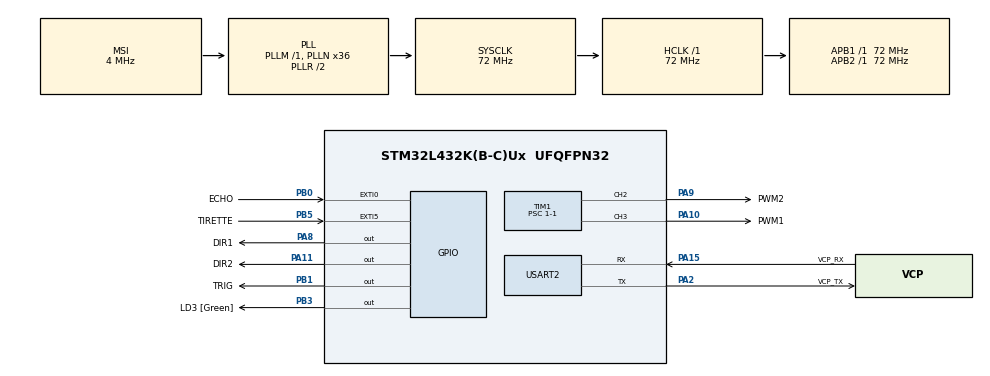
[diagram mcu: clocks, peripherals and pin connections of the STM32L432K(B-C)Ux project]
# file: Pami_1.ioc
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Mcu.Family=STM32L4
Mcu.Name=STM32L432K(B-C)Ux
Mcu.Package=UFQFPN32
NVIC.PriorityGroup=NVIC_PRIORITYGROUP_4
NVIC.TIM1_BRK_TIM15_IRQn=true\:0\:0\:false\:false\:true\:true\:true\:true
NVIC.TIM1_CC_IRQn=true\:0\:0\:false\:false\:true\:true\:true\:true
NVIC.TIM1_TRG_COM_IRQn=true\:0\:0\:false\:false\:true\:true\:true\:true
NVIC.TIM1_UP_TIM16_IRQn=true\:0\:0\:false\:false\:true\:true\:true\:true
NVIC.TIM7_IRQn=true\:0\:0\:false\:false\:true\:true\:true\:true
PA0.GPIO_Label=MCO [High speed clock in]
PA0.Mode=HSE-External-Clock-Source-for-LittleOrca
PA0.Signal=RCC_CK_IN
PA10.GPIO_Label=PWM1
PA10.Signal=S_TIM1_CH3
PA11.GPIO_Label=DIR2
PA11.Signal=GPIO_Output
PA13\ (JTMS-SWDIO).GPIO_Label=SWDIO
PA13\ (JTMS-SWDIO).Mode=Serial_Wire
PA13\ (JTMS-SWDIO).Signal=SYS_JTMS-SWDIO
PA14\ (JTCK-SWCLK).GPIO_Label=SWCLK
PA14\ (JTCK-SWCLK).Mode=Serial_Wire
PA14\ (JTCK-SWCLK).Signal=SYS_JTCK-SWCLK
PA15\ (JTDI).GPIO_Label=VCP_RX
PA15\ (JTDI).Mode=Asynchronous
PA15\ (JTDI).Signal=USART2_RX
PA2.GPIO_Label=VCP_TX
PA2.Mode=Asynchronous
PA2.Signal=USART2_TX
PA8.GPIO_Label=DIR1
PA8.Signal=GPIO_Output
PA9.GPIO_Label=PWM2
PA9.Signal=S_TIM1_CH2
PB0.GPIO_Label=ECHO
PB0.Signal=GPXTI0
PB1.GPIO_Label=TRIG
PB1.Signal=GPIO_Output
PB3\ (JTDO-TRACESWO).GPIO_Label=LD3 [Green]
PB3\ (JTDO-TRACESWO).Signal=GPIO_Output
PB5.GPIO_Label=TIRETTE
PB5.GPIO_PuPd=GPIO_PULLDOWN
PB5.Signal=GPXTI5
PC14-OSC32_IN\ (PC14).Mode=LSE-External-Oscillator
PC14-OSC32_IN\ (PC14).Signal=RCC_OSC32_IN
PC15-OSC32_OUT\ (PC15).Mode=LSE-External-Oscillator
PC15-OSC32_OUT\ (PC15).Signal=RCC_OSC32_OUT
ProjectManager.HeapSize=0x200
ProjectManager.StackSize=0x400
ProjectManager.TargetToolchain=STM32CubeIDE
RCC.AHBFreq_Value=72000000
RCC.APB1Freq_Value=72000000
RCC.APB1TimFreq_Value=72000000
RCC.APB2Freq_Value=72000000
RCC.APB2TimFreq_Value=72000000
RCC.CortexFreq_Value=72000000
RCC.HCLKFreq_Value=72000000
RCC.HSE_VALUE=8000000
RCC.HSI16_VALUE=16000000
RCC.HSI48_VALUE=48000000
RCC.HSI_VALUE=16000000
RCC.MSI_VALUE=4000000
RCC.PLLMUL=RCC_PLLMUL_4
RCC.PLLN=36
RCC.SYSCLKFreq_VALUE=72000000
RCC.SYSCLKSource=RCC_SYSCLKSOURCE_PLLCLK
RCC.VCOOutputFreq_Value=144000000
SH.S_TIM1_CH2.0=TIM1_CH2,PWM Generation2 CH2
SH.S_TIM1_CH3.0=TIM1_CH3,PWM Generation3 CH3
TIM1.Channel-PWM\ Generation2\ CH2=TIM_CHANNEL_2
TIM1.Channel-PWM\ Generation3\ CH3=TIM_CHANNEL_3
TIM1.Period=60000
TIM1.Prescaler=1-1
TIM2.Period=65535
TIM2.Prescaler=72-1
TIM7.AutoReloadPreload=TIM_AUTORELOAD_PRELOAD_ENABLE
TIM7.Period=65220-1
TIM7.Prescaler=1221-1
USART2.VirtualMode-Asynchronous=VM_ASYNC
VP_TIM2_VS_ClockSourceINT.Mode=Internal
VP_TIM7_VS_ClockSourceINT.Mode=Enable_Timer
board=NUCLEO-L432KC

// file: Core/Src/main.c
/* USER CODE BEGIN Header */
/**
  ******************************************************************************
  * @file           : main.c
  * @brief          : Main program body
  ******************************************************************************
  * @attention
  *
  * Copyright (c) 2024 STMicroelectronics.
  * All rights reserved.
  *
  * This software is licensed under terms that can be found in the LICENSE file
  * in the root directory of this software component.
  * If no LICENSE file comes with this software, it is provided AS-IS.
  *
  ******************************************************************************
  */
/* USER CODE END Header */
#include "main.h"

/* USER CODE BEGIN Includes */
#include <stdbool.h>
/* USER CODE END Includes */

/* USER CODE BEGIN PD */
uint32_t pMillis;
uint32_t Value1 = 0;
uint32_t Value2 = 0;
uint16_t Distance = 0;
int vmax = 60000;
/* USER CODE END PD */

TIM_HandleTypeDef htim1;
TIM_HandleTypeDef htim2;
TIM_HandleTypeDef htim7;

UART_HandleTypeDef huart2;

/* USER CODE BEGIN PV */
int cpt = 0;
bool color;//true = jaune; false = bleu

/* USER CODE END PV */

void SystemClock_Config(void);
static void MX_GPIO_Init(void);
static void MX_USART2_UART_Init(void);
static void MX_TIM1_Init(void);
static void MX_TIM7_Init(void);
static void MX_TIM2_Init(void);

/* USER CODE BEGIN 0 */
void turn90()//IL FAUT IMPLEMANTER LE SENS DES ROUES EN VARIABLE D'ABORD
{

}
/* USER CODE END 0 */

int main(void)
{

  /* MCU Configuration--------------------------------------------------------*/

  /* Reset of all peripherals, Initializes the Flash interface and the Systick. */
  HAL_Init();

  /* Configure the system clock */
  SystemClock_Config();

  /* Initialize all configured peripherals */
  MX_GPIO_Init();
  MX_USART2_UART_Init();
  MX_TIM1_Init();
  MX_TIM7_Init();
  MX_TIM2_Init();
  /* USER CODE BEGIN 2 */
  HAL_TIM_PWM_Start(&htim1, TIM_CHANNEL_2);
  HAL_TIM_PWM_Start(&htim1, TIM_CHANNEL_3);
  HAL_TIM_Base_Start_IT(&htim2);

  //while(HAL_GPIO_ReadPin(TIRETTE_GPIO_Port, TIRETTE_Pin));
  //HAL_TIM_Base_Start_IT(&htim7);
  //while(cpt < 91);

  __HAL_TIM_SET_COMPARE(&htim1,TIM_CHANNEL_2, 0);
  __HAL_TIM_SET_COMPARE(&htim1,TIM_CHANNEL_3, 0);

  HAL_GPIO_WritePin(DIR2_GPIO_Port, DIR2_Pin, 0);// ATTENTION PIN11 est sur enable
  HAL_GPIO_WritePin(DIR1_GPIO_Port, DIR1_Pin, 1);// ATTENTION PIN11 est sur enable

  /* USER CODE END 2 */

  /* Infinite loop */
  /* USER CODE BEGIN WHILE */
  while (1)
  {
	  HAL_GPIO_WritePin(TRIG_GPIO_Port, TRIG_Pin, 1);
	  __HAL_TIM_SET_COUNTER(&htim2, 0);
	  while(__HAL_TIM_GET_COUNTER(&htim2) < 10);
	  HAL_GPIO_WritePin(TRIG_GPIO_Port, TRIG_Pin, 0);

	  pMillis = HAL_GetTick();
	  while(!(HAL_GPIO_ReadPin(ECHO_GPIO_Port, ECHO_Pin)) && pMillis +10 > HAL_GetTick());
	  Value1 = __HAL_TIM_GET_COUNTER(&htim2);

	  pMillis = HAL_GetTick();
	  while((HAL_GPIO_ReadPin(ECHO_GPIO_Port, ECHO_Pin)) && pMillis +50 > HAL_GetTick());
	  Value2 = __HAL_TIM_GET_COUNTER(&htim2);
	  Distance = (Value2 - Value1)*0.034/2;

	  if(Distance < 5){
		  HAL_GPIO_WritePin(LD3_GPIO_Port, LD3_Pin, 1);
		  __HAL_TIM_SET_COMPARE(&htim1,TIM_CHANNEL_2, 0);
		  __HAL_TIM_SET_COMPARE(&htim1,TIM_CHANNEL_3, 0);
	  }
	  else
	  {
		  HAL_GPIO_WritePin(LD3_GPIO_Port, LD3_Pin, 0);
		  __HAL_TIM_SET_COMPARE(&htim1,TIM_CHANNEL_2, vmax-1000);
		  __HAL_TIM_SET_COMPARE(&htim1,TIM_CHANNEL_3, vmax-1000);
	  }

	  HAL_Delay(50);

    /* USER CODE END WHILE */

  }
}

void SystemClock_Config(void)
{
  RCC_OscInitTypeDef RCC_OscInitStruct = {0};
  RCC_ClkInitTypeDef RCC_ClkInitStruct = {0};

  /** Configure the main internal regulator output voltage
  */
  if (HAL_PWREx_ControlVoltageScaling(PWR_REGULATOR_VOLTAGE_SCALE1) != HAL_OK)
  {
    Error_Handler();
  }

  /** Configure LSE Drive Capability
  */
  HAL_PWR_EnableBkUpAccess();
  __HAL_RCC_LSEDRIVE_CONFIG(RCC_LSEDRIVE_LOW);

  /** Initializes the RCC Oscillators according to the specified parameters
  * in the RCC_OscInitTypeDef structure.
  */
  RCC_OscInitStruct.OscillatorType = RCC_OSCILLATORTYPE_LSE|RCC_OSCILLATORTYPE_MSI;
  RCC_OscInitStruct.LSEState = RCC_LSE_ON;
  RCC_OscInitStruct.MSIState = RCC_MSI_ON;
  RCC_OscInitStruct.MSICalibrationValue = 0;
  RCC_OscInitStruct.MSIClockRange = RCC_MSIRANGE_6;
  RCC_OscInitStruct.PLL.PLLState = RCC_PLL_ON;
  RCC_OscInitStruct.PLL.PLLSource = RCC_PLLSOURCE_MSI;
  RCC_OscInitStruct.PLL.PLLM = 1;
  RCC_OscInitStruct.PLL.PLLN = 36;
  RCC_OscInitStruct.PLL.PLLP = RCC_PLLP_DIV7;
  RCC_OscInitStruct.PLL.PLLQ = RCC_PLLQ_DIV2;
  RCC_OscInitStruct.PLL.PLLR = RCC_PLLR_DIV2;
  if (HAL_RCC_OscConfig(&RCC_OscInitStruct) != HAL_OK)
  {
    Error_Handler();
  }

  /** Initializes the CPU, AHB and APB buses clocks
  */
  RCC_ClkInitStruct.ClockType = RCC_CLOCKTYPE_HCLK|RCC_CLOCKTYPE_SYSCLK
                              |RCC_CLOCKTYPE_PCLK1|RCC_CLOCKTYPE_PCLK2;
  RCC_ClkInitStruct.SYSCLKSource = RCC_SYSCLKSOURCE_PLLCLK;
  RCC_ClkInitStruct.AHBCLKDivider = RCC_SYSCLK_DIV1;
  RCC_ClkInitStruct.APB1CLKDivider = RCC_HCLK_DIV1;
  RCC_ClkInitStruct.APB2CLKDivider = RCC_HCLK_DIV1;

  if (HAL_RCC_ClockConfig(&RCC_ClkInitStruct, FLASH_LATENCY_4) != HAL_OK)
  {
    Error_Handler();
  }

  /** Enable MSI Auto calibration
  */
  HAL_RCCEx_EnableMSIPLLMode();
}

static void MX_TIM1_Init(void)
{

  TIM_MasterConfigTypeDef sMasterConfig = {0};
  TIM_OC_InitTypeDef sConfigOC = {0};
  TIM_BreakDeadTimeConfigTypeDef sBreakDeadTimeConfig = {0};

  htim1.Instance = TIM1;
  htim1.Init.Prescaler = 1-1;
  htim1.Init.CounterMode = TIM_COUNTERMODE_UP;
  htim1.Init.Period = 60000;
  htim1.Init.ClockDivision = TIM_CLOCKDIVISION_DIV1;
  htim1.Init.RepetitionCounter = 0;
  htim1.Init.AutoReloadPreload = TIM_AUTORELOAD_PRELOAD_DISABLE;
  if (HAL_TIM_PWM_Init(&htim1) != HAL_OK)
  {
    Error_Handler();
  }
  sMasterConfig.MasterOutputTrigger = TIM_TRGO_RESET;
  sMasterConfig.MasterOutputTrigger2 = TIM_TRGO2_RESET;
  sMasterConfig.MasterSlaveMode = TIM_MASTERSLAVEMODE_DISABLE;
  if (HAL_TIMEx_MasterConfigSynchronization(&htim1, &sMasterConfig) != HAL_OK)
  {
    Error_Handler();
  }
  sConfigOC.OCMode = TIM_OCMODE_PWM1;
  sConfigOC.Pulse = 0;
  sConfigOC.OCPolarity = TIM_OCPOLARITY_HIGH;
  sConfigOC.OCNPolarity = TIM_OCNPOLARITY_HIGH;
  sConfigOC.OCFastMode = TIM_OCFAST_DISABLE;
  sConfigOC.OCIdleState = TIM_OCIDLESTATE_RESET;
  sConfigOC.OCNIdleState = TIM_OCNIDLESTATE_RESET;
  if (HAL_TIM_PWM_ConfigChannel(&htim1, &sConfigOC, TIM_CHANNEL_2) != HAL_OK)
  {
    Error_Handler();
  }
  if (HAL_TIM_PWM_ConfigChannel(&htim1, &sConfigOC, TIM_CHANNEL_3) != HAL_OK)
  {
    Error_Handler();
  }
  sBreakDeadTimeConfig.OffStateRunMode = TIM_OSSR_DISABLE;
  sBreakDeadTimeConfig.OffStateIDLEMode = TIM_OSSI_DISABLE;
  sBreakDeadTimeConfig.LockLevel = TIM_LOCKLEVEL_OFF;
  sBreakDeadTimeConfig.DeadTime = 0;
  sBreakDeadTimeConfig.BreakState = TIM_BREAK_DISABLE;
  sBreakDeadTimeConfig.BreakPolarity = TIM_BREAKPOLARITY_HIGH;
  sBreakDeadTimeConfig.BreakFilter = 0;
  sBreakDeadTimeConfig.Break2State = TIM_BREAK2_DISABLE;
  sBreakDeadTimeConfig.Break2Polarity = TIM_BREAK2POLARITY_HIGH;
  sBreakDeadTimeConfig.Break2Filter = 0;
  sBreakDeadTimeConfig.AutomaticOutput = TIM_AUTOMATICOUTPUT_DISABLE;
  if (HAL_TIMEx_ConfigBreakDeadTime(&htim1, &sBreakDeadTimeConfig) != HAL_OK)
  {
    Error_Handler();
  }
  HAL_TIM_MspPostInit(&htim1);

}

static void MX_TIM2_Init(void)
{

  TIM_ClockConfigTypeDef sClockSourceConfig = {0};
  TIM_MasterConfigTypeDef sMasterConfig = {0};

  htim2.Instance = TIM2;
  htim2.Init.Prescaler = 72-1;
  htim2.Init.CounterMode = TIM_COUNTERMODE_UP;
  htim2.Init.Period = 65535;
  htim2.Init.ClockDivision = TIM_CLOCKDIVISION_DIV1;
  htim2.Init.AutoReloadPreload = TIM_AUTORELOAD_PRELOAD_DISABLE;
  if (HAL_TIM_Base_Init(&htim2) != HAL_OK)
  {
    Error_Handler();
  }
  sClockSourceConfig.ClockSource = TIM_CLOCKSOURCE_INTERNAL;
  if (HAL_TIM_ConfigClockSource(&htim2, &sClockSourceConfig) != HAL_OK)
  {
    Error_Handler();
  }
  sMasterConfig.MasterOutputTrigger = TIM_TRGO_RESET;
  sMasterConfig.MasterSlaveMode = TIM_MASTERSLAVEMODE_DISABLE;
  if (HAL_TIMEx_MasterConfigSynchronization(&htim2, &sMasterConfig) != HAL_OK)
  {
    Error_Handler();
  }

}

static void MX_TIM7_Init(void)
{

  TIM_MasterConfigTypeDef sMasterConfig = {0};

  htim7.Instance = TIM7;
  htim7.Init.Prescaler = 1221-1;
  htim7.Init.CounterMode = TIM_COUNTERMODE_UP;
  htim7.Init.Period = 65220-1;
  htim7.Init.AutoReloadPreload = TIM_AUTORELOAD_PRELOAD_ENABLE;
  if (HAL_TIM_Base_Init(&htim7) != HAL_OK)
  {
    Error_Handler();
  }
  sMasterConfig.MasterOutputTrigger = TIM_TRGO_RESET;
  sMasterConfig.MasterSlaveMode = TIM_MASTERSLAVEMODE_DISABLE;
  if (HAL_TIMEx_MasterConfigSynchronization(&htim7, &sMasterConfig) != HAL_OK)
  {
    Error_Handler();
  }

}

static void MX_USART2_UART_Init(void)
{

  huart2.Instance = USART2;
  huart2.Init.BaudRate = 115200;
  huart2.Init.WordLength = UART_WORDLENGTH_8B;
  huart2.Init.StopBits = UART_STOPBITS_1;
  huart2.Init.Parity = UART_PARITY_NONE;
  huart2.Init.Mode = UART_MODE_TX_RX;
  huart2.Init.HwFlowCtl = UART_HWCONTROL_NONE;
  huart2.Init.OverSampling = UART_OVERSAMPLING_16;
  huart2.Init.OneBitSampling = UART_ONE_BIT_SAMPLE_DISABLE;
  huart2.AdvancedInit.AdvFeatureInit = UART_ADVFEATURE_NO_INIT;
  if (HAL_UART_Init(&huart2) != HAL_OK)
  {
    Error_Handler();
  }

}

static void MX_GPIO_Init(void)
{
  GPIO_InitTypeDef GPIO_InitStruct = {0};

  /* GPIO Ports Clock Enable */
  __HAL_RCC_GPIOC_CLK_ENABLE();
  __HAL_RCC_GPIOA_CLK_ENABLE();
  __HAL_RCC_GPIOB_CLK_ENABLE();

  /*Configure GPIO pin Output Level */
  HAL_GPIO_WritePin(GPIOB, TRIG_Pin|LD3_Pin, GPIO_PIN_RESET);

  /*Configure GPIO pin Output Level */
  HAL_GPIO_WritePin(GPIOA, DIR1_Pin|DIR2_Pin, GPIO_PIN_RESET);

  /*Configure GPIO pin : ECHO_Pin */
  GPIO_InitStruct.Pin = ECHO_Pin;
  GPIO_InitStruct.Mode = GPIO_MODE_IT_RISING;
  GPIO_InitStruct.Pull = GPIO_NOPULL;
  HAL_GPIO_Init(ECHO_GPIO_Port, &GPIO_InitStruct);

  /*Configure GPIO pins : TRIG_Pin LD3_Pin */
  GPIO_InitStruct.Pin = TRIG_Pin|LD3_Pin;
  GPIO_InitStruct.Mode = GPIO_MODE_OUTPUT_PP;
  GPIO_InitStruct.Pull = GPIO_NOPULL;
  GPIO_InitStruct.Speed = GPIO_SPEED_FREQ_LOW;
  HAL_GPIO_Init(GPIOB, &GPIO_InitStruct);

  /*Configure GPIO pins : DIR1_Pin DIR2_Pin */
  GPIO_InitStruct.Pin = DIR1_Pin|DIR2_Pin;
  GPIO_InitStruct.Mode = GPIO_MODE_OUTPUT_PP;
  GPIO_InitStruct.Pull = GPIO_NOPULL;
  GPIO_InitStruct.Speed = GPIO_SPEED_FREQ_LOW;
  HAL_GPIO_Init(GPIOA, &GPIO_InitStruct);

  /*Configure GPIO pin : TIRETTE_Pin */
  GPIO_InitStruct.Pin = TIRETTE_Pin;
  GPIO_InitStruct.Mode = GPIO_MODE_IT_RISING;
  GPIO_InitStruct.Pull = GPIO_PULLDOWN;
  HAL_GPIO_Init(TIRETTE_GPIO_Port, &GPIO_InitStruct);

}

/* USER CODE BEGIN 4 */
void HAL_TIM_PeriodElapsedCallback(TIM_HandleTypeDef *htim)
{
	if(htim->Instance == TIM7)
	{
		cpt++;
	}
}
/* USER CODE END 4 */

void Error_Handler(void)
{
  __disable_irq();
  while (1)
  {
  }
}
